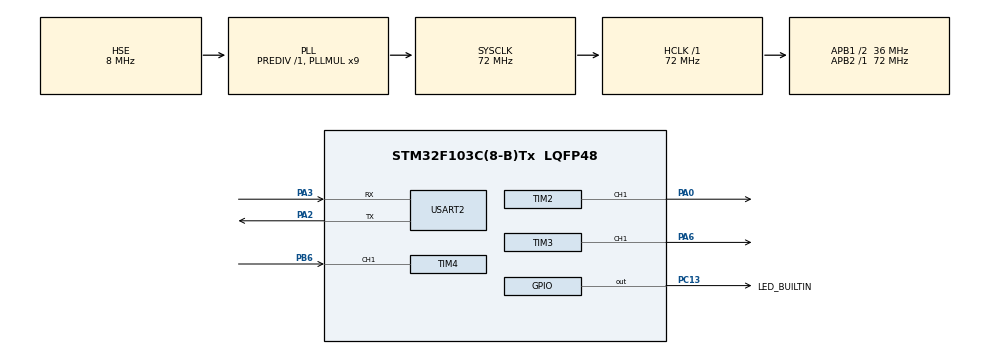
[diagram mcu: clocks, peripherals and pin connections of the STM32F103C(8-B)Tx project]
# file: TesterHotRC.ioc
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Mcu.Family=STM32F1
Mcu.Name=STM32F103C(8-B)Tx
Mcu.Package=LQFP48
NVIC.PriorityGroup=NVIC_PRIORITYGROUP_4
NVIC.TIM4_IRQn=true\:0\:0\:false\:false\:true\:true\:true\:true
PA0-WKUP.Signal=S_TIM2_CH1_ETR
PA13.Mode=Trace_Asynchronous_SW
PA13.Signal=SYS_JTMS-SWDIO
PA14.Mode=Trace_Asynchronous_SW
PA14.Signal=SYS_JTCK-SWCLK
PA2.Mode=Asynchronous
PA2.Signal=USART2_TX
PA3.Mode=Asynchronous
PA3.Signal=USART2_RX
PA6.Signal=S_TIM3_CH1
PB3.Mode=Trace_Asynchronous_SW
PB3.Signal=SYS_JTDO-TRACESWO
PB6.Signal=S_TIM4_CH1
PC13-TAMPER-RTC.GPIO_Label=LED_BUILTIN
PC13-TAMPER-RTC.GPIO_Speed=GPIO_SPEED_FREQ_MEDIUM
PC13-TAMPER-RTC.Signal=GPIO_Output
PD0-OSC_IN.Mode=HSE-External-Oscillator
PD0-OSC_IN.Signal=RCC_OSC_IN
PD1-OSC_OUT.Mode=HSE-External-Oscillator
PD1-OSC_OUT.Signal=RCC_OSC_OUT
ProjectManager.HeapSize=0x200
ProjectManager.StackSize=0x400
ProjectManager.TargetToolchain=STM32CubeIDE
RCC.AHBFreq_Value=72000000
RCC.APB1CLKDivider=RCC_HCLK_DIV2
RCC.APB1Freq_Value=36000000
RCC.APB1TimFreq_Value=72000000
RCC.APB2Freq_Value=72000000
RCC.APB2TimFreq_Value=72000000
RCC.HCLKFreq_Value=72000000
RCC.PLLMUL=RCC_PLL_MUL9
RCC.PLLSourceVirtual=RCC_PLLSOURCE_HSE
RCC.SYSCLKFreq_VALUE=72000000
RCC.SYSCLKSource=RCC_SYSCLKSOURCE_PLLCLK
RCC.USBFreq_Value=72000000
SH.S_TIM2_CH1_ETR.0=TIM2_CH1,PWM Generation1 CH1
SH.S_TIM3_CH1.0=TIM3_CH1,PWM Generation1 CH1
SH.S_TIM4_CH1.0=TIM4_CH1,Input_Capture1_from_TI1
TIM2.AutoReloadPreload=TIM_AUTORELOAD_PRELOAD_ENABLE
TIM2.Channel-PWM\ Generation1\ CH1=TIM_CHANNEL_1
TIM2.Channel-PWM\ Generation2\ CH2=TIM_CHANNEL_2
TIM2.OCPolarity_1=TIM_OCPOLARITY_HIGH
TIM2.Period=3599
TIM2.Pulse-PWM\ Generation1\ CH1=1799
TIM3.AutoReloadPreload=TIM_AUTORELOAD_PRELOAD_ENABLE
TIM3.Channel-PWM\ Generation1\ CH1=TIM_CHANNEL_1
TIM3.Period=3599
TIM3.Pulse-PWM\ Generation1\ CH1=1799
TIM4.AutoReloadPreload=TIM_AUTORELOAD_PRELOAD_ENABLE
TIM4.Channel-Input_Capture1_from_TI1=TIM_CHANNEL_1
TIM4.Period=3600
TIM4.Prescaler=1000
USART2.VirtualMode=VM_ASYNC
VP_TIM2_VS_ClockSourceINT.Mode=Internal
VP_TIM3_VS_ClockSourceINT.Mode=Internal
VP_TIM4_VS_ClockSourceINT.Mode=Internal
board=custom

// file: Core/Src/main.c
/* USER CODE BEGIN Header */
/**
  ******************************************************************************
  * @file           : main.c
  * @brief          : Main program body
  ******************************************************************************
  * @attention
  *
  * Copyright (c) 2024 STMicroelectronics.
  * All rights reserved.
  *
  * This software is licensed under terms that can be found in the LICENSE file
  * in the root directory of this software component.
  * If no LICENSE file comes with this software, it is provided AS-IS.
  *
  ******************************************************************************
  */
/* USER CODE END Header */
#include "main.h"

/* USER CODE BEGIN Includes */
#include <stdio.h>
/* USER CODE END Includes */

/* USER CODE BEGIN PD */
#define IDLE   0
#define DONE   1
#define F_CLK  72000000UL

/* USER CODE END PD */

TIM_HandleTypeDef htim2;
TIM_HandleTypeDef htim3;
TIM_HandleTypeDef htim4;

UART_HandleTypeDef huart2;

/* USER CODE BEGIN PV */
volatile uint8_t state = IDLE;
volatile uint8_t message[35] = {'\0'};
volatile uint32_t T1 = 0;
volatile uint32_t T2 = 0;
volatile uint32_t ticks = 0;
volatile uint16_t TIM4_OVC = 0;
volatile uint32_t frequency = 0;
/* USER CODE END PV */

void SystemClock_Config(void);
static void MX_GPIO_Init(void);
static void MX_TIM2_Init(void);
static void MX_USART2_UART_Init(void);
static void MX_TIM3_Init(void);
static void MX_TIM4_Init(void);

int main(void)
{

  /* USER CODE BEGIN 1 */
	int32_t dutyCycle = 0;
  /* USER CODE END 1 */

  /* MCU Configuration--------------------------------------------------------*/

  /* Reset of all peripherals, Initializes the Flash interface and the Systick. */
  HAL_Init();

  /* Configure the system clock */
  SystemClock_Config();

  /* Initialize all configured peripherals */
  MX_GPIO_Init();
  MX_TIM2_Init();
  MX_USART2_UART_Init();
  MX_TIM3_Init();
  MX_TIM4_Init();
  /* USER CODE BEGIN 2 */

 HAL_TIM_PWM_Start(&htim2, TIM_CHANNEL_1);
  HAL_TIM_PWM_Start(&htim3, TIM_CHANNEL_1);
  HAL_TIM_Base_Start_IT(&htim4);
  HAL_TIM_IC_Start_IT(&htim4, TIM_CHANNEL_1);
  /* USER CODE END 2 */

  /* Infinite loop */
  /* USER CODE BEGIN WHILE */
  while (1)
  {
	  while(dutyCycle < 3599)
		{
			TIM2->CCR1 = dutyCycle;
      TIM3->CCR1 = 3599 - dutyCycle;
			dutyCycle += 10;

			HAL_Delay(2);
		}
		while(dutyCycle > 0)
		{
			TIM2->CCR1 = dutyCycle;
      TIM3->CCR1 = 3599 - dutyCycle;
			dutyCycle -= 10;
			HAL_Delay(2);
		}
    /* USER CODE END WHILE */

  }
}

void SystemClock_Config(void)
{
  RCC_OscInitTypeDef RCC_OscInitStruct = {0};
  RCC_ClkInitTypeDef RCC_ClkInitStruct = {0};

  /** Initializes the RCC Oscillators according to the specified parameters
  * in the RCC_OscInitTypeDef structure.
  */
  RCC_OscInitStruct.OscillatorType = RCC_OSCILLATORTYPE_HSE;
  RCC_OscInitStruct.HSEState = RCC_HSE_ON;
  RCC_OscInitStruct.HSEPredivValue = RCC_HSE_PREDIV_DIV1;
  RCC_OscInitStruct.HSIState = RCC_HSI_ON;
  RCC_OscInitStruct.PLL.PLLState = RCC_PLL_ON;
  RCC_OscInitStruct.PLL.PLLSource = RCC_PLLSOURCE_HSE;
  RCC_OscInitStruct.PLL.PLLMUL = RCC_PLL_MUL9;
  if (HAL_RCC_OscConfig(&RCC_OscInitStruct) != HAL_OK)
  {
    Error_Handler();
  }

  /** Initializes the CPU, AHB and APB buses clocks
  */
  RCC_ClkInitStruct.ClockType = RCC_CLOCKTYPE_HCLK|RCC_CLOCKTYPE_SYSCLK
                              |RCC_CLOCKTYPE_PCLK1|RCC_CLOCKTYPE_PCLK2;
  RCC_ClkInitStruct.SYSCLKSource = RCC_SYSCLKSOURCE_PLLCLK;
  RCC_ClkInitStruct.AHBCLKDivider = RCC_SYSCLK_DIV1;
  RCC_ClkInitStruct.APB1CLKDivider = RCC_HCLK_DIV2;
  RCC_ClkInitStruct.APB2CLKDivider = RCC_HCLK_DIV1;

  if (HAL_RCC_ClockConfig(&RCC_ClkInitStruct, FLASH_LATENCY_2) != HAL_OK)
  {
    Error_Handler();
  }
}

static void MX_TIM2_Init(void)
{

  TIM_ClockConfigTypeDef sClockSourceConfig = {0};
  TIM_MasterConfigTypeDef sMasterConfig = {0};
  TIM_OC_InitTypeDef sConfigOC = {0};

  htim2.Instance = TIM2;
  htim2.Init.Prescaler = 0;
  htim2.Init.CounterMode = TIM_COUNTERMODE_UP;
  htim2.Init.Period = 3599;
  htim2.Init.ClockDivision = TIM_CLOCKDIVISION_DIV1;
  htim2.Init.AutoReloadPreload = TIM_AUTORELOAD_PRELOAD_ENABLE;
  if (HAL_TIM_Base_Init(&htim2) != HAL_OK)
  {
    Error_Handler();
  }
  sClockSourceConfig.ClockSource = TIM_CLOCKSOURCE_INTERNAL;
  if (HAL_TIM_ConfigClockSource(&htim2, &sClockSourceConfig) != HAL_OK)
  {
    Error_Handler();
  }
  if (HAL_TIM_PWM_Init(&htim2) != HAL_OK)
  {
    Error_Handler();
  }
  sMasterConfig.MasterOutputTrigger = TIM_TRGO_RESET;
  sMasterConfig.MasterSlaveMode = TIM_MASTERSLAVEMODE_DISABLE;
  if (HAL_TIMEx_MasterConfigSynchronization(&htim2, &sMasterConfig) != HAL_OK)
  {
    Error_Handler();
  }
  sConfigOC.OCMode = TIM_OCMODE_PWM1;
  sConfigOC.Pulse = 1799;
  sConfigOC.OCPolarity = TIM_OCPOLARITY_HIGH;
  sConfigOC.OCFastMode = TIM_OCFAST_DISABLE;
  if (HAL_TIM_PWM_ConfigChannel(&htim2, &sConfigOC, TIM_CHANNEL_1) != HAL_OK)
  {
    Error_Handler();
  }
  HAL_TIM_MspPostInit(&htim2);

}

static void MX_TIM3_Init(void)
{

  TIM_ClockConfigTypeDef sClockSourceConfig = {0};
  TIM_MasterConfigTypeDef sMasterConfig = {0};
  TIM_OC_InitTypeDef sConfigOC = {0};

  htim3.Instance = TIM3;
  htim3.Init.Prescaler = 0;
  htim3.Init.CounterMode = TIM_COUNTERMODE_UP;
  htim3.Init.Period = 3599;
  htim3.Init.ClockDivision = TIM_CLOCKDIVISION_DIV1;
  htim3.Init.AutoReloadPreload = TIM_AUTORELOAD_PRELOAD_ENABLE;
  if (HAL_TIM_Base_Init(&htim3) != HAL_OK)
  {
    Error_Handler();
  }
  sClockSourceConfig.ClockSource = TIM_CLOCKSOURCE_INTERNAL;
  if (HAL_TIM_ConfigClockSource(&htim3, &sClockSourceConfig) != HAL_OK)
  {
    Error_Handler();
  }
  if (HAL_TIM_PWM_Init(&htim3) != HAL_OK)
  {
    Error_Handler();
  }
  sMasterConfig.MasterOutputTrigger = TIM_TRGO_RESET;
  sMasterConfig.MasterSlaveMode = TIM_MASTERSLAVEMODE_DISABLE;
  if (HAL_TIMEx_MasterConfigSynchronization(&htim3, &sMasterConfig) != HAL_OK)
  {
    Error_Handler();
  }
  sConfigOC.OCMode = TIM_OCMODE_PWM1;
  sConfigOC.Pulse = 1799;
  sConfigOC.OCPolarity = TIM_OCPOLARITY_HIGH;
  sConfigOC.OCFastMode = TIM_OCFAST_DISABLE;
  if (HAL_TIM_PWM_ConfigChannel(&htim3, &sConfigOC, TIM_CHANNEL_1) != HAL_OK)
  {
    Error_Handler();
  }
  HAL_TIM_MspPostInit(&htim3);

}

static void MX_TIM4_Init(void)
{

  TIM_ClockConfigTypeDef sClockSourceConfig = {0};
  TIM_MasterConfigTypeDef sMasterConfig = {0};
  TIM_IC_InitTypeDef sConfigIC = {0};

  htim4.Instance = TIM4;
  htim4.Init.Prescaler = 1000;
  htim4.Init.CounterMode = TIM_COUNTERMODE_UP;
  htim4.Init.Period = 3600;
  htim4.Init.ClockDivision = TIM_CLOCKDIVISION_DIV1;
  htim4.Init.AutoReloadPreload = TIM_AUTORELOAD_PRELOAD_ENABLE;
  if (HAL_TIM_Base_Init(&htim4) != HAL_OK)
  {
    Error_Handler();
  }
  sClockSourceConfig.ClockSource = TIM_CLOCKSOURCE_INTERNAL;
  if (HAL_TIM_ConfigClockSource(&htim4, &sClockSourceConfig) != HAL_OK)
  {
    Error_Handler();
  }
  if (HAL_TIM_IC_Init(&htim4) != HAL_OK)
  {
    Error_Handler();
  }
  sMasterConfig.MasterOutputTrigger = TIM_TRGO_RESET;
  sMasterConfig.MasterSlaveMode = TIM_MASTERSLAVEMODE_DISABLE;
  if (HAL_TIMEx_MasterConfigSynchronization(&htim4, &sMasterConfig) != HAL_OK)
  {
    Error_Handler();
  }
  sConfigIC.ICPolarity = TIM_INPUTCHANNELPOLARITY_RISING;
  sConfigIC.ICSelection = TIM_ICSELECTION_DIRECTTI;
  sConfigIC.ICPrescaler = TIM_ICPSC_DIV1;
  sConfigIC.ICFilter = 0;
  if (HAL_TIM_IC_ConfigChannel(&htim4, &sConfigIC, TIM_CHANNEL_1) != HAL_OK)
  {
    Error_Handler();
  }

}

static void MX_USART2_UART_Init(void)
{

  huart2.Instance = USART2;
  huart2.Init.BaudRate = 115200;
  huart2.Init.WordLength = UART_WORDLENGTH_8B;
  huart2.Init.StopBits = UART_STOPBITS_1;
  huart2.Init.Parity = UART_PARITY_NONE;
  huart2.Init.Mode = UART_MODE_TX_RX;
  huart2.Init.HwFlowCtl = UART_HWCONTROL_NONE;
  huart2.Init.OverSampling = UART_OVERSAMPLING_16;
  if (HAL_UART_Init(&huart2) != HAL_OK)
  {
    Error_Handler();
  }

}

static void MX_GPIO_Init(void)
{
  GPIO_InitTypeDef GPIO_InitStruct = {0};

  /* GPIO Ports Clock Enable */
  __HAL_RCC_GPIOC_CLK_ENABLE();
  __HAL_RCC_GPIOD_CLK_ENABLE();
  __HAL_RCC_GPIOA_CLK_ENABLE();
  __HAL_RCC_GPIOB_CLK_ENABLE();

  /*Configure GPIO pin Output Level */
  HAL_GPIO_WritePin(LED_BUILTIN_GPIO_Port, LED_BUILTIN_Pin, GPIO_PIN_RESET);

  /*Configure GPIO pin : LED_BUILTIN_Pin */
  GPIO_InitStruct.Pin = LED_BUILTIN_Pin;
  GPIO_InitStruct.Mode = GPIO_MODE_OUTPUT_PP;
  GPIO_InitStruct.Pull = GPIO_NOPULL;
  GPIO_InitStruct.Speed = GPIO_SPEED_FREQ_MEDIUM;
  HAL_GPIO_Init(LED_BUILTIN_GPIO_Port, &GPIO_InitStruct);

}

/* USER CODE BEGIN 4 */
void HAL_TIM_IC_CaptureCallback(TIM_HandleTypeDef* htim)
{
  switch(state)
  {
    case IDLE:
      T1 = TIM4->CCR1;
      TIM4_OVC = 0;
      state = DONE;
      break;

    case DONE:
      T2 = TIM4->CCR1;
      if(T2 > T1)
      {
        ticks = (T2 + (TIM4_OVC * 3600)) - T1;
        frequency = (uint32_t)(F_CLK/ticks);
        if(frequency != 0)
        {
          sprintf(message, "Frequency = %lu Hz\n\r", frequency);
          HAL_UART_Transmit(&huart2, message, sizeof(message), 100);
        }
      }
      state = IDLE;
      break;

    default:
      state = IDLE;
      break;
  }
}

void HAL_TIM_PeriodElapsedCallback(TIM_HandleTypeDef* htim)
{
    TIM4_OVC++;
    HAL_GPIO_TogglePin(GPIOC, LED_BUILTIN_Pin);
}

/* USER CODE END 4 */

void Error_Handler(void)
{
  __disable_irq();
  while (1)
  {
  }
}
